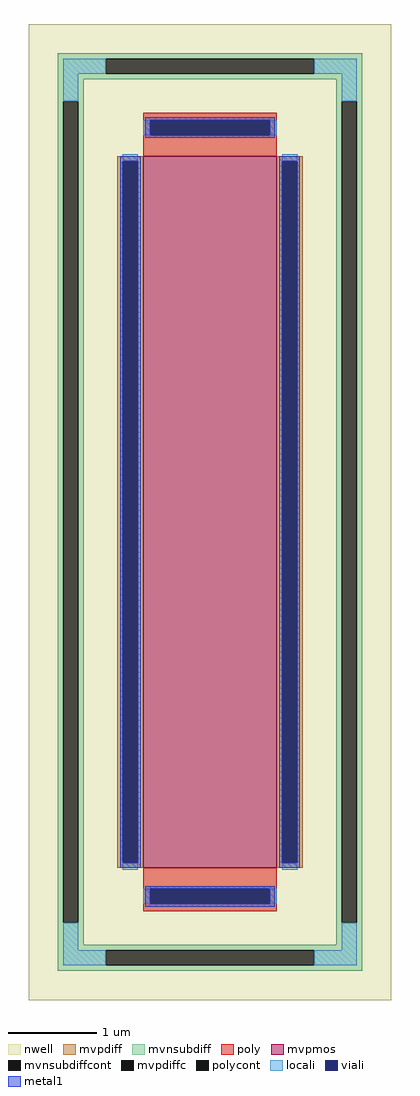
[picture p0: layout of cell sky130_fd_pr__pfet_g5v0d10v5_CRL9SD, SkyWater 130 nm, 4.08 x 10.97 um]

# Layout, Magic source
magic
tech sky130A
magscale 1 2
<< nwell >>
rect -408 -1097 408 1097
<< mvpmos >>
rect -150 -800 150 800
<< mvpdiff >>
rect -208 788 -150 800
rect -208 -788 -196 788
rect -162 -788 -150 788
rect -208 -800 -150 -788
rect 150 788 208 800
rect 150 -788 162 788
rect 196 -788 208 788
rect 150 -800 208 -788
<< mvpdiffc >>
rect -196 -788 -162 788
rect 162 -788 196 788
<< mvnsubdiff >>
rect -342 1019 342 1031
rect -342 985 -234 1019
rect 234 985 342 1019
rect -342 973 342 985
rect -342 923 -284 973
rect -342 -923 -330 923
rect -296 -923 -284 923
rect 284 923 342 973
rect -342 -973 -284 -923
rect 284 -923 296 923
rect 330 -923 342 923
rect 284 -973 342 -923
rect -342 -985 342 -973
rect -342 -1019 -234 -985
rect 234 -1019 342 -985
rect -342 -1031 342 -1019
<< mvnsubdiffcont >>
rect -234 985 234 1019
rect -330 -923 -296 923
rect 296 -923 330 923
rect -234 -1019 234 -985
<< poly >>
rect -150 881 150 897
rect -150 847 -134 881
rect 134 847 150 881
rect -150 800 150 847
rect -150 -847 150 -800
rect -150 -881 -134 -847
rect 134 -881 150 -847
rect -150 -897 150 -881
<< polycont >>
rect -134 847 134 881
rect -134 -881 134 -847
<< locali >>
rect -330 985 -234 1019
rect 234 985 330 1019
rect -330 923 -296 985
rect 296 923 330 985
rect -150 847 -134 881
rect 134 847 150 881
rect -196 788 -162 804
rect -196 -804 -162 -788
rect 162 788 196 804
rect 162 -804 196 -788
rect -150 -881 -134 -847
rect 134 -881 150 -847
rect -330 -985 -296 -923
rect 296 -985 330 -923
rect -330 -1019 -234 -985
rect 234 -1019 330 -985
<< viali >>
rect -134 847 134 881
rect -196 -788 -162 788
rect 162 -788 196 788
rect -134 -881 134 -847
<< metal1 >>
rect -146 881 146 887
rect -146 847 -134 881
rect 134 847 146 881
rect -146 841 146 847
rect -202 788 -156 800
rect -202 -788 -196 788
rect -162 -788 -156 788
rect -202 -800 -156 -788
rect 156 788 202 800
rect 156 -788 162 788
rect 196 -788 202 788
rect 156 -800 202 -788
rect -146 -847 146 -841
rect -146 -881 -134 -847
rect 134 -881 146 -847
rect -146 -887 146 -881
<< properties >>
string FIXED_BBOX -313 -1002 313 1002
string gencell sky130_fd_pr__pfet_g5v0d10v5
string library sky130
string parameters w 8 l 1.5 m 1 nf 1 diffcov 100 polycov 100 guard 1 glc 1 grc 1 gtc 1 gbc 1 tbcov 100 rlcov 100 topc 1 botc 1 poverlap 0 doverlap 1 lmin 0.50 wmin 0.42 compatible {sky130_fd_pr__pfet_01v8  sky130_fd_pr__pfet_01v8_lvt sky130_fd_pr__pfet_01v8_hvt  sky130_fd_pr__pfet_g5v0d10v5} full_metal 1 viasrc 100 viadrn 100 viagate 100 viagb 0 viagr 0 viagl 0 viagt 0
<< end >>
